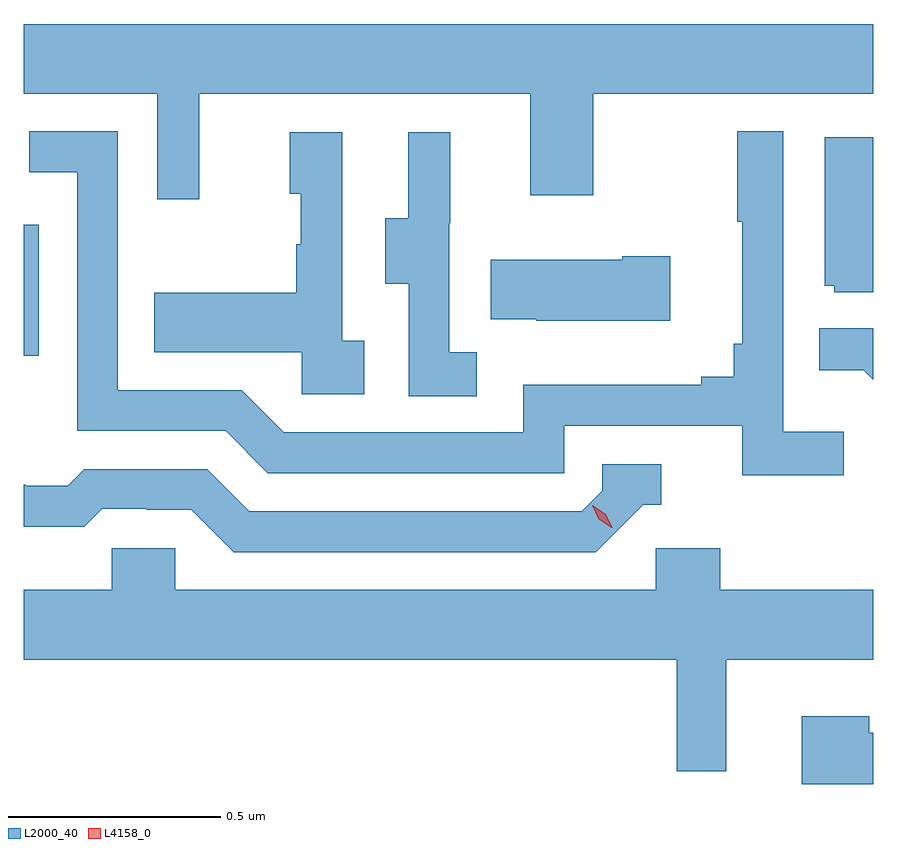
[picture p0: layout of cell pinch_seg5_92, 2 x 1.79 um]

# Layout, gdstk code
import gdstk
lib = gdstk.Library(unit=1e-6, precision=1e-09)
def R(c, l, rs):  # rectangles x0, y0, x1, y1
    for r in rs: c.add(gdstk.rectangle(r[:2], r[2:], *l))
def P(c, l, *ps):  # polygons
    for p in ps: c.add(gdstk.Polygon(p, *l))
L2000_40 = (2000, 40)
L4158_0 = (4158, 0)

pinch_seg5_92 = lib.new_cell('pinch_seg5_92')
R(pinch_seg5_92, L2000_40, [(1049.016,898.767,1049.052,899.076)])
P(pinch_seg5_92, L2000_40, [(1049.429,899.384),(1050.209,899.384),(1050.209,899.145),(1050.357,899.145),(1050.357,899.384),(1051.016,899.384),(1051.016,899.548),(1049.016,899.548),(1049.016,899.384),(1049.331,899.384),(1049.331,899.136),(1049.429,899.136)],
  [(1050.946,898.588),(1050.804,898.588),(1050.804,899.296),(1050.696,899.296),(1050.696,899.083),(1050.707,899.083),(1050.707,898.795),(1050.688,898.795),(1050.688,898.718),(1050.611,898.718),(1050.611,898.699),(1050.192,898.699),(1050.192,898.587),(1049.628,898.587),(1049.529,898.686),(1049.238,898.686),(1049.238,899.295),(1049.029,899.295),(1049.029,899.199),(1049.142,899.199),(1049.142,898.59),(1049.492,898.59),(1049.591,898.491),(1050.288,898.491),(1050.288,898.602),(1050.707,898.602),(1050.707,898.486),(1050.946,898.486)],
  [(1050.082,898.775),(1050.018,898.775),(1050.018,899.079),(1050.02,899.079),(1050.02,899.293),(1049.921,899.293),(1049.921,899.091),(1049.867,899.091),(1049.867,898.936),(1049.922,898.936),(1049.922,898.672),(1050.082,898.672)],
  [(1049.818,898.802),(1049.766,898.802),(1049.766,899.293),(1049.642,899.293),(1049.642,899.148),(1049.668,899.148),(1049.668,899.03),(1049.658,899.03),(1049.658,898.915),(1049.323,898.915),(1049.323,898.775),(1049.67,898.775),(1049.67,898.677),(1049.818,898.677)],
  [(1051.016,899.281),(1050.902,899.281),(1050.902,898.932),(1050.924,898.932),(1050.924,898.917),(1051.016,898.917)],
  [(1050.538,899.001),(1050.425,899.001),(1050.425,898.993),(1050.115,898.993),(1050.115,898.853),(1050.223,898.853),(1050.223,898.85),(1050.538,898.85)],
  [(1051.016,898.832),(1050.889,898.832),(1050.889,898.733),(1050.993,898.733),(1051.016,898.71)],
  [(1050.474,898.416),(1050.517,898.416),(1050.517,898.512),(1050.378,898.512),(1050.378,898.449),(1050.33,898.401),(1049.547,898.401),(1049.448,898.5),(1049.159,898.5),(1049.12,898.461),(1049.021,898.461),(1049.021,898.464),(1049.016,898.464),(1049.016,898.365),(1049.159,898.365),(1049.201,898.407),(1049.304,898.407),(1049.304,898.404),(1049.411,898.404),(1049.51,898.305),(1050.363,898.305)],
  [(1050.67,898.052),(1051.016,898.052),(1051.016,898.216),(1050.656,898.216),(1050.656,898.314),(1050.504,898.314),(1050.504,898.216),(1049.373,898.216),(1049.373,898.314),(1049.223,898.314),(1049.223,898.216),(1049.016,898.216),(1049.016,898.052),(1050.553,898.052),(1050.553,897.789),(1050.67,897.789)],
  [(1051.016,897.88),(1051.006,897.88),(1051.006,897.919),(1050.848,897.919),(1050.848,897.759),(1051.016,897.759)])
P(pinch_seg5_92, L4158_0, [(1050.4,898.362),(1050.37,898.382),(1050.354,898.415),(1050.354,898.415),(1050.354,898.415),(1050.385,898.395),(1050.401,898.363),(1050.401,898.362)])

lib.write_gds('pinch_seg5_92.gds')
